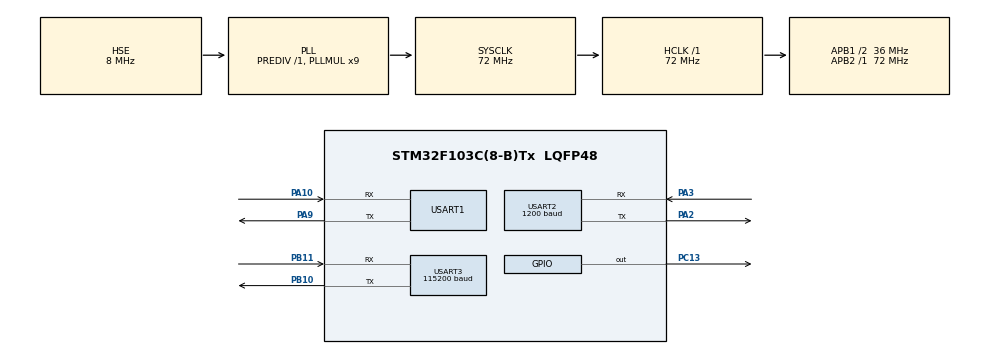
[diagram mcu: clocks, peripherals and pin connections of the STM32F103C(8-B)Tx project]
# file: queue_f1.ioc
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Mcu.Family=STM32F1
Mcu.Name=STM32F103C(8-B)Tx
Mcu.Package=LQFP48
NVIC.PriorityGroup=NVIC_PRIORITYGROUP_4
NVIC.TIM2_IRQn=true\:15\:0\:false\:false\:true\:false\:true\:true
NVIC.TimeBase=TIM2_IRQn
NVIC.TimeBaseIP=TIM2
NVIC.USART1_IRQn=true\:5\:0\:true\:false\:true\:true\:true\:true
NVIC.USART3_IRQn=true\:5\:0\:true\:false\:true\:true\:true\:true
PA10.Mode=Asynchronous
PA10.Signal=USART1_RX
PA13.Mode=Serial_Wire
PA13.Signal=SYS_JTMS-SWDIO
PA14.Mode=Serial_Wire
PA14.Signal=SYS_JTCK-SWCLK
PA2.Mode=Asynchronous
PA2.Signal=USART2_TX
PA3.Mode=Asynchronous
PA3.Signal=USART2_RX
PA9.Mode=Asynchronous
PA9.Signal=USART1_TX
PB10.Mode=Asynchronous
PB10.Signal=USART3_TX
PB11.Mode=Asynchronous
PB11.Signal=USART3_RX
PC13-TAMPER-RTC.Signal=GPIO_Output
PD0-OSC_IN.Mode=HSE-External-Oscillator
PD0-OSC_IN.Signal=RCC_OSC_IN
PD1-OSC_OUT.Mode=HSE-External-Oscillator
PD1-OSC_OUT.Signal=RCC_OSC_OUT
ProjectManager.HeapSize=0x200
ProjectManager.StackSize=0x400
ProjectManager.TargetToolchain=STM32CubeIDE
RCC.AHBFreq_Value=72000000
RCC.APB1CLKDivider=RCC_HCLK_DIV2
RCC.APB1Freq_Value=36000000
RCC.APB1TimFreq_Value=72000000
RCC.APB2Freq_Value=72000000
RCC.APB2TimFreq_Value=72000000
RCC.HCLKFreq_Value=72000000
RCC.PLLMUL=RCC_PLL_MUL9
RCC.PLLSourceVirtual=RCC_PLLSOURCE_HSE
RCC.SYSCLKFreq_VALUE=72000000
RCC.SYSCLKSource=RCC_SYSCLKSOURCE_PLLCLK
RCC.USBFreq_Value=72000000
USART1.VirtualMode=VM_ASYNC
USART2.BaudRate=1200
USART2.VirtualMode=VM_ASYNC
USART3.BaudRate=115200
USART3.VirtualMode=VM_ASYNC
VP_SYS_VS_tim2.Mode=TIM2
board=custom

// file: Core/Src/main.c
/* USER CODE BEGIN Header */
/**
  ******************************************************************************
  * @file           : main.c
  * @brief          : Main program body
  ******************************************************************************
  * @attention
  *
  * Copyright (c) 2023 STMicroelectronics.
  * All rights reserved.
  *
  * This software is licensed under terms that can be found in the LICENSE file
  * in the root directory of this software component.
  * If no LICENSE file comes with this software, it is provided AS-IS.
  *
  ******************************************************************************
  */
/* USER CODE END Header */
#include "main.h"

/* USER CODE BEGIN Includes */
#include "FreeRTOS.h"
#include "task.h"
#include "queue.h"
#include "string.h"
#include "stdio.h"
/* USER CODE END Includes */

UART_HandleTypeDef huart1;
UART_HandleTypeDef huart2;
UART_HandleTypeDef huart3;

/* USER CODE BEGIN PV */
xTaskHandle receiver_handler;
xQueueHandle myQueue;
uint8_t item1[50];
uint8_t item3[50];
uint8_t str[50];
uint8_t data1;
uint8_t data3;
uint32_t count1;
uint32_t count3;
/* USER CODE END PV */

void SystemClock_Config(void);
static void MX_GPIO_Init(void);
static void MX_USART2_UART_Init(void);
static void MX_USART3_UART_Init(void);
static void MX_USART1_UART_Init(void);
/* USER CODE BEGIN PFP */

void sender_handle(void);
void receiver_handle(void);
/* USER CODE END PFP */

int main(void)
{
  /* USER CODE BEGIN 1 */
BaseType_t status;

  /* USER CODE END 1 */

  /* MCU Configuration--------------------------------------------------------*/

  /* Reset of all peripherals, Initializes the Flash interface and the Systick. */
  HAL_Init();

  /* Configure the system clock */
  SystemClock_Config();

  /* Initialize all configured peripherals */
  MX_GPIO_Init();
  MX_USART2_UART_Init();
  MX_USART3_UART_Init();
  MX_USART1_UART_Init();
  /* USER CODE BEGIN 2 */

  status = xTaskCreate(receiver_handle, "Task_receive", 200, NULL, 1, &receiver_handler);
  configASSERT(status == pdPASS);

  myQueue = xQueueCreate(10, sizeof(item1));
  configASSERT(myQueue != NULL);

  HAL_UART_Receive_IT(&huart3, &data3, 1);
  HAL_UART_Receive_IT(&huart1, &data1, 1);

  vTaskStartScheduler();
  /* USER CODE END 2 */

  /* Infinite loop */
  while (1)
  {

  }
}

void SystemClock_Config(void)
{
  RCC_OscInitTypeDef RCC_OscInitStruct = {0};
  RCC_ClkInitTypeDef RCC_ClkInitStruct = {0};

  /** Initializes the RCC Oscillators according to the specified parameters
  * in the RCC_OscInitTypeDef structure.
  */
  RCC_OscInitStruct.OscillatorType = RCC_OSCILLATORTYPE_HSE;
  RCC_OscInitStruct.HSEState = RCC_HSE_ON;
  RCC_OscInitStruct.HSEPredivValue = RCC_HSE_PREDIV_DIV1;
  RCC_OscInitStruct.HSIState = RCC_HSI_ON;
  RCC_OscInitStruct.PLL.PLLState = RCC_PLL_ON;
  RCC_OscInitStruct.PLL.PLLSource = RCC_PLLSOURCE_HSE;
  RCC_OscInitStruct.PLL.PLLMUL = RCC_PLL_MUL9;
  if (HAL_RCC_OscConfig(&RCC_OscInitStruct) != HAL_OK)
  {
    Error_Handler();
  }

  /** Initializes the CPU, AHB and APB buses clocks
  */
  RCC_ClkInitStruct.ClockType = RCC_CLOCKTYPE_HCLK|RCC_CLOCKTYPE_SYSCLK
                              |RCC_CLOCKTYPE_PCLK1|RCC_CLOCKTYPE_PCLK2;
  RCC_ClkInitStruct.SYSCLKSource = RCC_SYSCLKSOURCE_PLLCLK;
  RCC_ClkInitStruct.AHBCLKDivider = RCC_SYSCLK_DIV1;
  RCC_ClkInitStruct.APB1CLKDivider = RCC_HCLK_DIV2;
  RCC_ClkInitStruct.APB2CLKDivider = RCC_HCLK_DIV1;

  if (HAL_RCC_ClockConfig(&RCC_ClkInitStruct, FLASH_LATENCY_2) != HAL_OK)
  {
    Error_Handler();
  }
}

static void MX_USART1_UART_Init(void)
{

  huart1.Instance = USART1;
  huart1.Init.BaudRate = 115200;
  huart1.Init.WordLength = UART_WORDLENGTH_8B;
  huart1.Init.StopBits = UART_STOPBITS_1;
  huart1.Init.Parity = UART_PARITY_NONE;
  huart1.Init.Mode = UART_MODE_TX_RX;
  huart1.Init.HwFlowCtl = UART_HWCONTROL_NONE;
  huart1.Init.OverSampling = UART_OVERSAMPLING_16;
  if (HAL_UART_Init(&huart1) != HAL_OK)
  {
    Error_Handler();
  }

}

static void MX_USART2_UART_Init(void)
{

  huart2.Instance = USART2;
  huart2.Init.BaudRate = 1200;
  huart2.Init.WordLength = UART_WORDLENGTH_8B;
  huart2.Init.StopBits = UART_STOPBITS_1;
  huart2.Init.Parity = UART_PARITY_NONE;
  huart2.Init.Mode = UART_MODE_TX_RX;
  huart2.Init.HwFlowCtl = UART_HWCONTROL_NONE;
  huart2.Init.OverSampling = UART_OVERSAMPLING_16;
  if (HAL_UART_Init(&huart2) != HAL_OK)
  {
    Error_Handler();
  }

}

static void MX_USART3_UART_Init(void)
{

  huart3.Instance = USART3;
  huart3.Init.BaudRate = 115200;
  huart3.Init.WordLength = UART_WORDLENGTH_8B;
  huart3.Init.StopBits = UART_STOPBITS_1;
  huart3.Init.Parity = UART_PARITY_NONE;
  huart3.Init.Mode = UART_MODE_TX_RX;
  huart3.Init.HwFlowCtl = UART_HWCONTROL_NONE;
  huart3.Init.OverSampling = UART_OVERSAMPLING_16;
  if (HAL_UART_Init(&huart3) != HAL_OK)
  {
    Error_Handler();
  }

}

static void MX_GPIO_Init(void)
{
  GPIO_InitTypeDef GPIO_InitStruct = {0};

  /* GPIO Ports Clock Enable */
  __HAL_RCC_GPIOC_CLK_ENABLE();
  __HAL_RCC_GPIOD_CLK_ENABLE();
  __HAL_RCC_GPIOA_CLK_ENABLE();
  __HAL_RCC_GPIOB_CLK_ENABLE();

  /*Configure GPIO pin Output Level */
  HAL_GPIO_WritePin(GPIOC, GPIO_PIN_13, GPIO_PIN_RESET);

  /*Configure GPIO pin : PC13 */
  GPIO_InitStruct.Pin = GPIO_PIN_13;
  GPIO_InitStruct.Mode = GPIO_MODE_OUTPUT_PP;
  GPIO_InitStruct.Pull = GPIO_NOPULL;
  GPIO_InitStruct.Speed = GPIO_SPEED_FREQ_LOW;
  HAL_GPIO_Init(GPIOC, &GPIO_InitStruct);

}

/* USER CODE BEGIN 4 */
uint8_t space;
uint8_t s[10];
void receiver_handle(void)
{
	while(1)
	{
		space = uxQueueSpacesAvailable(myQueue);
		if(xQueueReceive(myQueue, &str, portMAX_DELAY) == pdPASS)
		{
			sprintf(s, "%d\n", space);
			HAL_UART_Transmit(&huart2, s, 10, 1000);
			HAL_UART_Transmit(&huart2, str, 50, 1000);
		}
	}
}

void HAL_UART_RxCpltCallback(UART_HandleTypeDef *huart)
{
	if(huart == &huart3)
	{
		if(data3 != '\0')
		{
			if(count3 > 50)
			{

			}
			else
			{
				item3[count3++] = data3;
			}
		}
		else
		{
			xQueueSendFromISR(myQueue, item3, NULL);
			count3 = 0;
			memset(item3, 0, 50);
		}
		HAL_UART_Receive_IT(&huart3, &data3, 1);
	}
	if(huart == &huart1)
	{
		if(data1 != '\0')
		{
			if(count1 > 50)
			{

			}
			else
			{
				item1[count1++] = data1;
			}
		}
		else
		{
			xQueueSendFromISR(myQueue, item1, NULL);
			count1 = 0;
			memset(item1, 0, 50);
		}
		HAL_UART_Receive_IT(&huart1, &data1, 1);
	}

}
/* USER CODE END 4 */

void HAL_TIM_PeriodElapsedCallback(TIM_HandleTypeDef *htim)
{
  if (htim->Instance == TIM2) {
    HAL_IncTick();
  }
}

void Error_Handler(void)
{
  __disable_irq();
  while (1)
  {
  }
}
